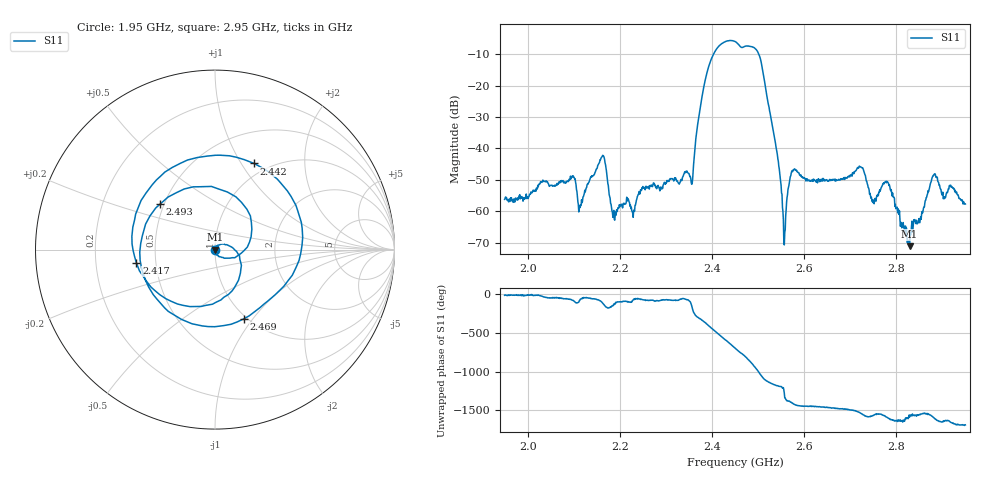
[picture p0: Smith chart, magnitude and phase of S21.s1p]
#  HZ  S  DB  R  50.0
! Rohde & Schwarz ZVL
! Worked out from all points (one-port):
!   1001 points, 1.95 GHz to 2.95 GHz, reference 50 ohm
!   lowest |S11| = -71.2 dB at 2.829 GHz (marker M1), VSWR 1.00, Z = 50 - j0.0146 ohm
!   |S11| at or under -10 dB: start of sweep to 2.403 GHz; 2.502 GHz to end of sweep
!   S11 on the Smith chart (normalised r, x): 1.95 GHz: 1.00, -0.00; 2.417 GHz: 0.39, -0.07; 2.442 GHz: 0.86, +1.14; 2.469 GHz: 0.97, -0.91; 2.493 GHz: 0.48, +0.29; 2.95 GHz: 1.00, +0.00
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1.95e9  -56.22 -12.3
2.075e9  -50.37 -51.6
2.1e9  -49.11 -84.9
2.114e9  -58.85 -65.8
2.162e9  -42.43 -109.6
2.185e9  -61.95 -149.1
2.2e9  -58.54 -96.5
2.325e9  -50.54 -78.2
2.356e9  -51.42 -147.9
2.385e9  -18.40 -4.6
2.404e9  -9.74 -103.7
2.417e9  -7.05 -170.4
2.442e9  -5.56 65.5
2.45e9  -5.86 25.4
2.469e9  -7.59 -67.0
2.493e9  -8.02 140.1
2.507e9  -12.59 29.0
2.537e9  -37.78 -92.8
2.556e9  -69.98 -157.5
2.575e9  -47.40 28.5
2.7e9  -48.48 -55.6
2.725e9  -46.06 -105.6
2.751e9  -56.79 -126.6
2.781e9  -50.61 -156.6
2.825e9  -69.24 -161.7
2.829e9  -71.17 -148.1
2.882e9  -48.39 -159.3
2.95e9  -57.71 110.6
